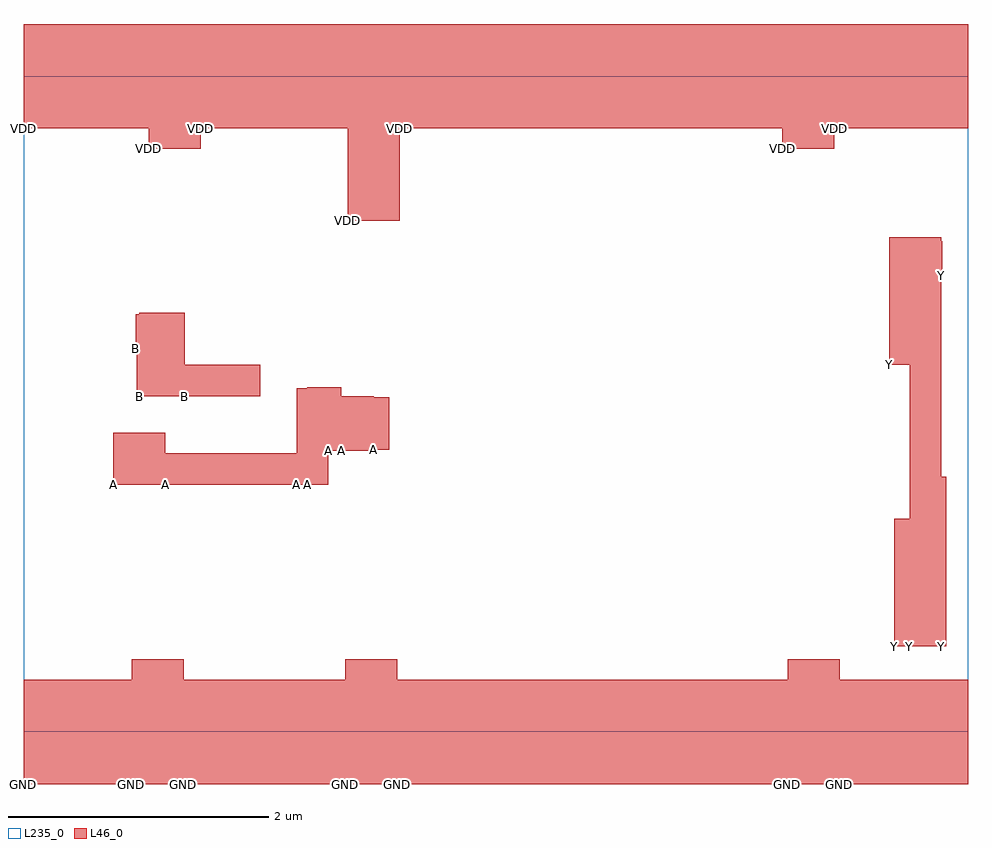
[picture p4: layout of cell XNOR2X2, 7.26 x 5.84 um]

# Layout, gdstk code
import gdstk
lib = gdstk.Library(unit=1e-6, precision=1e-09)
def R(c, l, rs):  # rectangles x0, y0, x1, y1
    for r in rs: c.add(gdstk.rectangle(r[:2], r[2:], *l))
L46_0 = (46, 0)
L235_0 = (235, 0)

xnor2x2 = lib.new_cell('XNOR2X2')
R(xnor2x2, L46_0, [(0,-0.4,0.83,0.4), (0.83,-0.4,1.23,0.56), (1.23,-0.4,2.47,0.4), (2.47,-0.4,2.87,0.56), (2.87,-0.4,5.87,0.4), (5.87,-0.4,6.27,0.56), (6.27,-0.4,7.26,0.4), (6.69,0.66,6.81,1.64), (6.81,0.66,7.05,3.8), (7.05,0.66,7.09,1.96), (0.69,1.9,1.09,2.3), (1.09,1.9,2.1,2.14), (2.1,1.9,2.18,2.64), (2.18,1.9,2.34,2.65), (2.34,2.16,2.44,2.65), (2.44,2.16,2.69,2.58), (2.69,2.17,2.81,2.57), (0.87,2.58,0.89,3.21), (0.89,2.58,1.24,3.22), (1.24,2.58,1.82,2.82), (6.65,2.82,6.81,3.8), (0.86,2.95,0.87,3.21), (7.05,3.51,7.06,3.77), (2.49,3.93,2.89,5.44), (0.96,4.48,1.36,5.44), (5.83,4.48,6.23,5.44), (0,4.64,0.96,5.44), (1.36,4.64,2.49,5.44), (2.89,4.64,5.83,5.44), (6.23,4.64,7.26,5.44)])
R(xnor2x2, L235_0, [(0,0,7.26,5.04)])
xnor2x2.add(gdstk.Label('Y', (7.05,0.66), layer=101, texttype=0))
xnor2x2.add(gdstk.Label('Y', (7.05,3.51), layer=101, texttype=0))
xnor2x2.add(gdstk.Label('Y', (6.81,0.66), layer=101, texttype=0))
xnor2x2.add(gdstk.Label('Y', (6.69,0.66), layer=101, texttype=0))
xnor2x2.add(gdstk.Label('Y', (6.65,2.82), layer=101, texttype=0))
xnor2x2.add(gdstk.Label('B', (1.24,2.58), layer=101, texttype=0))
xnor2x2.add(gdstk.Label('B', (0.89,2.58), layer=101, texttype=0))
xnor2x2.add(gdstk.Label('B', (0.87,2.58), layer=101, texttype=0))
xnor2x2.add(gdstk.Label('B', (0.86,2.95), layer=101, texttype=0))
xnor2x2.add(gdstk.Label('A', (2.69,2.17), layer=101, texttype=0))
xnor2x2.add(gdstk.Label('A', (2.44,2.16), layer=101, texttype=0))
xnor2x2.add(gdstk.Label('A', (2.34,2.16), layer=101, texttype=0))
xnor2x2.add(gdstk.Label('A', (2.18,1.9), layer=101, texttype=0))
xnor2x2.add(gdstk.Label('A', (2.1,1.9), layer=101, texttype=0))
xnor2x2.add(gdstk.Label('A', (1.09,1.9), layer=101, texttype=0))
xnor2x2.add(gdstk.Label('A', (0.69,1.9), layer=101, texttype=0))
xnor2x2.add(gdstk.Label('VDD', (6.23,4.64), layer=101, texttype=0))
xnor2x2.add(gdstk.Label('VDD', (5.83,4.48), layer=101, texttype=0))
xnor2x2.add(gdstk.Label('VDD', (2.89,4.64), layer=101, texttype=0))
xnor2x2.add(gdstk.Label('VDD', (2.49,3.93), layer=101, texttype=0))
xnor2x2.add(gdstk.Label('VDD', (1.36,4.64), layer=101, texttype=0))
xnor2x2.add(gdstk.Label('VDD', (0.96,4.48), layer=101, texttype=0))
xnor2x2.add(gdstk.Label('VDD', (0,4.64), layer=101, texttype=0))
xnor2x2.add(gdstk.Label('GND', (6.27,-0.4), layer=101, texttype=0))
xnor2x2.add(gdstk.Label('GND', (5.87,-0.4), layer=101, texttype=0))
xnor2x2.add(gdstk.Label('GND', (2.87,-0.4), layer=101, texttype=0))
xnor2x2.add(gdstk.Label('GND', (2.47,-0.4), layer=101, texttype=0))
xnor2x2.add(gdstk.Label('GND', (1.23,-0.4), layer=101, texttype=0))
xnor2x2.add(gdstk.Label('GND', (0.83,-0.4), layer=101, texttype=0))
xnor2x2.add(gdstk.Label('GND', (0,-0.4), layer=101, texttype=0))

lib.write_gds('XNOR2X2.gds')
